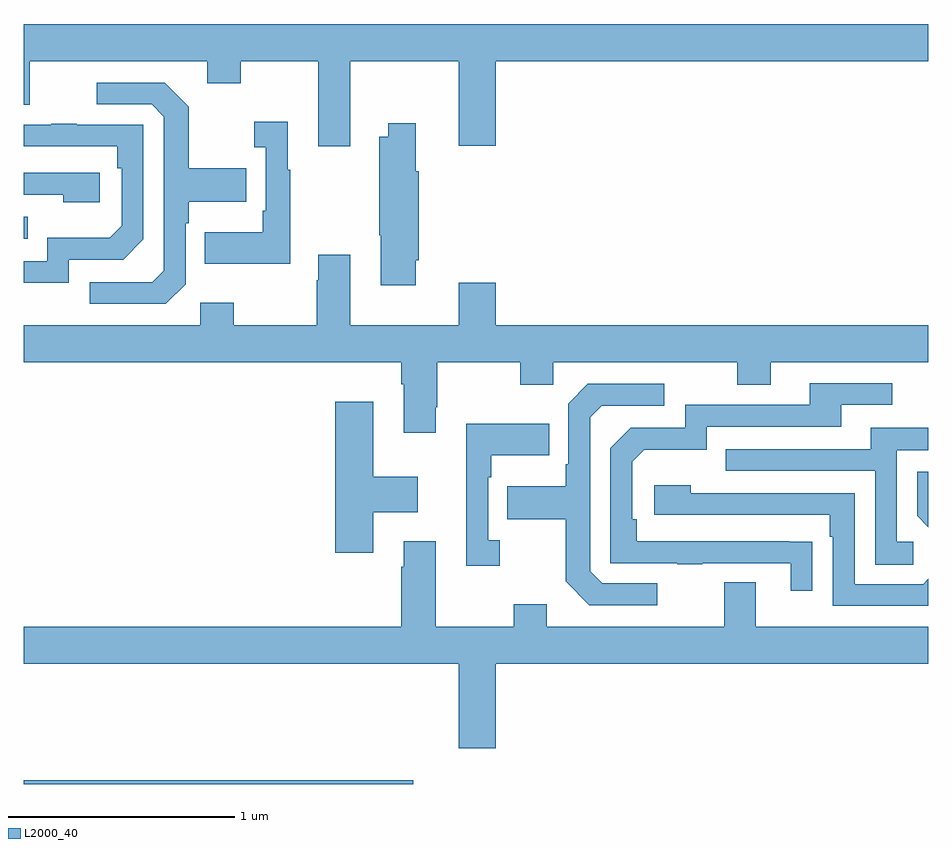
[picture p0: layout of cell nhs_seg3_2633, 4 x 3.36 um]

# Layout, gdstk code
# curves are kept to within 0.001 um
import gdstk
lib = gdstk.Library(unit=1e-6, precision=1e-09)
def R(c, l, rs):  # rectangles x0, y0, x1, y1
    for r in rs: c.add(gdstk.rectangle(r[:2], r[2:], *l))
def P(c, l, *ps):  # polygons
    for p in ps: c.add(gdstk.Polygon(p, *l))
L2000_40 = (2000, 40)

nhs_seg3_2633 = lib.new_cell('nhs_seg3_2633')
R(nhs_seg3_2633, L2000_40, [(247,684.4,248.722,684.416), (247,686.811,247.019,686.907)])
P(nhs_seg3_2633, L2000_40, [(248.443,687.596),(248.924,687.596),(248.924,687.222),(249.088,687.222),(249.088,687.596),(251,687.596),(251,687.76),(247,687.76),(247,687.402),(247.027,687.402),(247.027,687.596),(247.811,687.596),(247.811,687.497),(247.959,687.497),(247.959,687.596),(248.303,687.596),(248.303,687.219),(248.443,687.219)],
  [(247.716,686.61),(247.716,686.879),(247.729,686.879),(247.729,686.975),(247.985,686.975),(247.985,687.123),(247.729,687.123),(247.729,687.395),(247.623,687.501),(247.323,687.501),(247.323,687.405),(247.566,687.405),(247.62,687.351),(247.62,686.67),(247.569,686.619),(247.293,686.619),(247.293,686.523),(247.629,686.523)],
  [(248.179,687.115),(248.167,687.115),(248.167,687.328),(248.019,687.328),(248.019,687.215),(248.07,687.215),(248.07,686.935),(248.058,686.935),(248.058,686.839),(247.801,686.839),(247.801,686.699),(248.179,686.699)],
  [(248.734,686.716),(248.747,686.716),(248.747,687.109),(248.734,687.109),(248.734,687.322),(248.612,687.322),(248.612,687.262),(248.572,687.262),(248.572,686.827),(248.579,686.827),(248.579,686.604),(248.734,686.604)],
  [(247.2,686.718),(247.44,686.718),(247.53,686.808),(247.53,687.315),(247.235,687.315),(247.235,687.32),(247.123,687.32),(247.123,687.315),(247,687.315),(247,687.219),(247.414,687.219),(247.414,687.122),(247.434,687.122),(247.434,686.868),(247.381,686.815),(247.104,686.815),(247.104,686.712),(247,686.712),(247,686.616),(247.2,686.616)],
  [(247.336,687.102),(247,687.102),(247,687.006),(247.175,687.006),(247.175,686.972),(247.336,686.972)],
  [(248.821,686.065),(248.829,686.065),(248.829,686.264),(249.196,686.264),(249.196,686.165),(249.342,686.165),(249.342,686.264),(250.156,686.264),(250.156,686.165),(250.303,686.165),(250.303,686.264),(251,686.264),(251,686.428),(249.088,686.428),(249.088,686.617),(248.924,686.617),(248.924,686.428),(248.443,686.428),(248.443,686.74),(248.303,686.74),(248.303,686.627),(248.296,686.627),(248.296,686.428),(247.929,686.428),(247.929,686.527),(247.782,686.527),(247.782,686.428),(247,686.428),(247,686.264),(248.669,686.264),(248.669,686.168),(248.681,686.168),(248.681,685.953),(248.821,685.953)],
  [(250.487,685.472),(249.71,685.473),(249.71,685.57),(249.69,685.57),(249.69,685.824),(249.743,685.877),(250.02,685.877),(250.02,685.98),(250.615,685.98),(250.615,686.076),(250.84,686.076),(250.84,686.172),(250.475,686.172),(250.475,686.076),(249.924,686.076),(249.924,685.974),(249.684,685.974),(249.594,685.884),(249.594,685.377),(249.889,685.377),(249.889,685.372),(250.001,685.372),(250.001,685.377),(250.391,685.377),(250.391,685.254),(250.487,685.254)],
  [(249.802,685.287),(249.558,685.287),(249.504,685.341),(249.504,686.022),(249.555,686.073),(249.832,686.073),(249.832,686.169),(249.495,686.169),(249.408,686.082),(249.408,685.813),(249.396,685.813),(249.396,685.717),(249.139,685.717),(249.139,685.57),(249.396,685.57),(249.396,685.297),(249.501,685.191),(249.802,685.191)],
  [(248.545,685.601),(248.743,685.601),(248.743,685.759),(248.545,685.759),(248.545,686.089),(248.378,686.089),(248.378,685.422),(248.545,685.422)],
  [(249.106,685.478),(249.054,685.478),(249.054,685.757),(249.067,685.757),(249.067,685.853),(249.323,685.853),(249.323,685.993),(248.957,685.993),(248.957,685.365),(249.106,685.365)],
  [(250.933,685.47),(250.86,685.47),(250.86,685.875),(251,685.875),(251,685.971),(250.999,685.971),(250.999,685.975),(250.745,685.975),(250.745,685.881),(250.105,685.881),(250.105,685.785),(250.764,685.785),(250.764,685.369),(250.933,685.369)],
  [(251,685.78),(250.95,685.78),(250.95,685.586),(251,685.536)],
  [(251,685.307),(250.977,685.284),(250.674,685.284),(250.674,685.686),(249.95,685.686),(249.95,685.72),(249.789,685.72),(249.789,685.59),(250.565,685.59),(250.565,685.493),(250.578,685.493),(250.578,685.188),(251,685.188)],
  [(249.088,684.932),(251,684.932),(251,685.096),(250.237,685.096),(250.237,685.291),(250.097,685.291),(250.097,685.096),(249.313,685.096),(249.313,685.195),(249.166,685.195),(249.166,685.096),(248.821,685.096),(248.821,685.474),(248.681,685.474),(248.681,685.361),(248.669,685.361),(248.669,685.096),(247,685.096),(247,684.932),(248.924,684.932),(248.924,684.558),(249.088,684.558)])

lib.write_gds('nhs_seg3_2633.gds')
